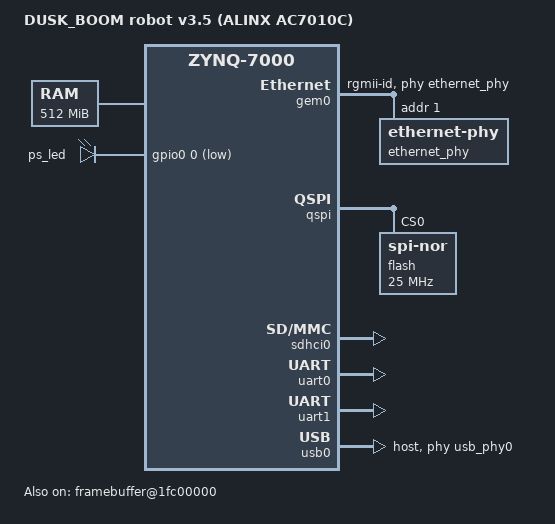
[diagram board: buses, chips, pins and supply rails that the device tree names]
// SPDX-License-Identifier: GPL-2.0+
/*
 * DUSK_BOOM robot board v3.5 with the ALINX AC7010C core module (XC7Z010-1CLG400) — Linux
 * Values from the AC7010C user manual (see ../../vivado/ps7_ac7010c.tcl).
 *
 *   ttyPS0 = UART1 (MIO48/49, CP2102 on the module, 115200) — console
 *   ttyPS1 = UART0 (EMIO -> PL -> ESP_IO0/1 -> ESP32-S3)    — robot bridge, 1 Mbps (dusk_robotd)
 *   USB0   = host on the module USB-A (USB3320C ULPI, jumpers J5+J6 on) — servo adapter
 *   gpio0  = MIO 0..53 + EMIO 54..69 (EMIO map: ../../rtl/dusk_boom_v35_top.v)
 *   screen = 1280x720 XRGB8888 at 0x1FC00000 (top 4 MB, reserved), read by the PL (fb_scanout.v)
 *            over S_AXI_HP0 and sent to HDMI once EMIO 8 = 1 (rcS) -> simpledrm /dev/dri/card0 + fb0
 */
/dts-v1/;
#include "zynq-7000.dtsi"
#include <dt-bindings/gpio/gpio.h>

/ {
	model = "DUSK_BOOM robot v3.5 (ALINX AC7010C)";
	compatible = "dusk,boom-robot-v35", "xlnx,zynq-7000";

	aliases {
		ethernet0 = &gem0;
		serial0 = &uart1;
		serial1 = &uart0;
		spi0 = &qspi;
		mmc0 = &sdhci0;
	};

	memory@0 {
		device_type = "memory";
		reg = <0x0 0x20000000>;		/* 2 x H5TQ2G63FFR = 512 MB */
	};

	chosen {
		bootargs = "console=tty0 console=ttyPS0,115200 earlycon";
		stdout-path = "serial0:115200n8";
	};

	reserved-memory {
		#address-cells = <1>;
		#size-cells = <1>;
		ranges;

		/* TPU (rtl/tpu_top.v): double-Rachel weights + activations + results, used through /dev/mem
		 * by rachel_tpu (tpu/sw/tpu_hw.h). 32 MB: weights 25.6 MB, buffers at +30 MB */
		tpu_mem: tpu@1c000000 {
			reg = <0x1c000000 0x2000000>;
			no-map;
		};

		screen_mem: screen@1fc00000 {
			reg = <0x1fc00000 0x400000>;	/* 4 MB: 1280 x 720 x 4 B = 3.5 MB */
			no-map;
		};
	};

	/* HDMI screen: the PL scans this memory out (EMIO 8 = 1) — simpledrm drives it */
	framebuffer@1fc00000 {
		compatible = "simple-framebuffer";
		reg = <0x1fc00000 (1280 * 720 * 4)>;
		width = <1280>;
		height = <720>;
		stride = <(1280 * 4)>;
		format = "x8r8g8b8";
		status = "okay";
	};

	/* USB3320C: VBUS of the host port through the PHY (CPEN), like the ZedBoard */
	usb_phy0: phy0@e0002000 {
		compatible = "ulpi-phy";
		#phy-cells = <0>;
		reg = <0xe0002000 0x1000>;
		view-port = <0x0170>;
		drv-vbus;
	};

	leds {
		compatible = "gpio-leds";
		ps-led {
			label = "ps_led";			/* MIO0, 0 = on */
			gpios = <&gpio0 0 GPIO_ACTIVE_LOW>;
			linux,default-trigger = "heartbeat";	/* blinking = Linux is alive */
		};
	};
};

&clkc {
	ps-clk-frequency = <33333333>;
};

&gem0 {
	status = "okay";
	phy-mode = "rgmii-id";			/* JL2121 adds both 2 ns delays (strap) */
	phy-handle = <&ethernet_phy>;

	ethernet_phy: ethernet-phy@1 {
		reg = <1>;				/* PHY address 001 (manual table 6-2) */
	};
};

&qspi {
	status = "okay";
	num-cs = <1>;
	flash@0 {
		compatible = "jedec,spi-nor";		/* W25Q256 */
		reg = <0>;
		spi-tx-bus-width = <1>;
		spi-rx-bus-width = <4>;
		spi-max-frequency = <25000000>;	/* no feedback clock on MIO8 */
	};
};

&sdhci0 {
	status = "okay";
	disable-wp;				/* no write-protect pin on the module */
};

&uart0 {
	status = "okay";			/* EMIO: robot bridge to the ESP32-S3 */
};

&uart1 {
	status = "okay";			/* console */
};

&usb0 {
	status = "okay";
	dr_mode = "host";
	usb-phy = <&usb_phy0>;
};
